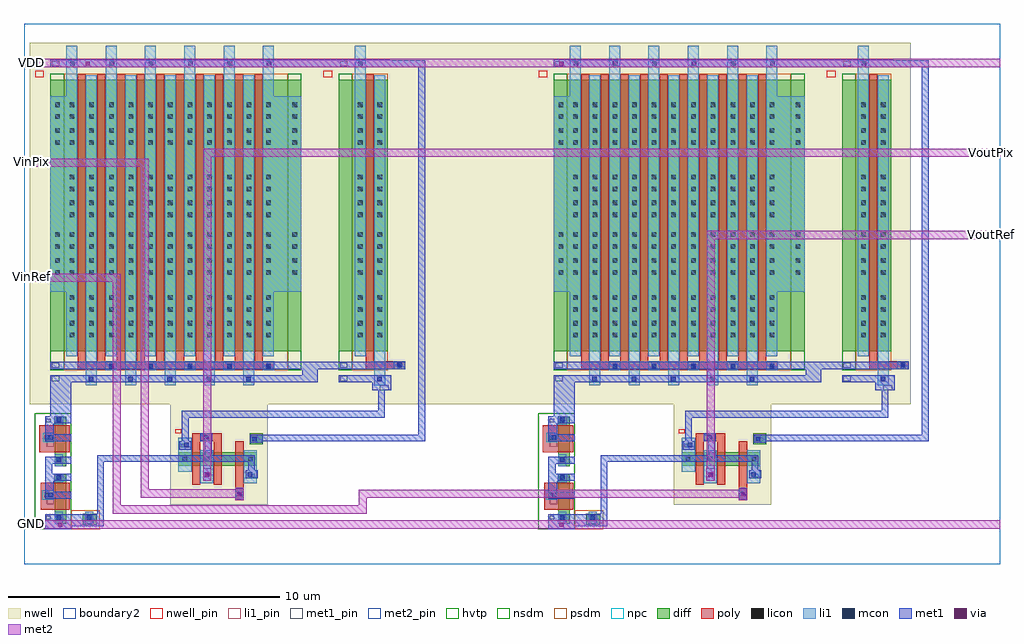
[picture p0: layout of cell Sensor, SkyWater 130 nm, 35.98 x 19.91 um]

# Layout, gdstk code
import gdstk
lib = gdstk.Library(unit=1e-6, precision=1e-09)
def R(c, l, rs):  # rectangles x0, y0, x1, y1
    for r in rs: c.add(gdstk.rectangle(r[:2], r[2:], *l))
def A(c, l, x, y, w, h, nx, ny, dx, dy):  # array of equal rectangles
    R(c, l, [(x+i*dx, y+j*dy, x+i*dx+w, y+j*dy+h) for i in range(nx) for j in range(ny)])
nwell_pin = (64, 16)
nwell = (64, 20)
diff = (65, 20)
poly = (66, 20)
licon = (66, 44)
li1_pin = (67, 16)
li1 = (67, 20)
mcon = (67, 44)
met1_pin = (68, 16)
met1 = (68, 20)
via = (68, 44)
met2_pin = (69, 16)
met2 = (69, 20)
hvtp = (78, 44)
nsdm = (93, 44)
psdm = (94, 20)
npc = (95, 20)
boundary2 = (236, 0)

pixel = lib.new_cell('Pixel')
R(pixel, nwell_pin, [(8.69,5.24,8.91,5.38)])
R(pixel, nwell, [(8.5,2.6,12.085,5.475)])
R(pixel, diff, [(8.8,4.03,11.69,4.53), (11.425,4.83,11.905,5.24)])
R(pixel, poly, [(10.9,2.755,11.2,4.94), (10.91,2.795,11.195,3.22), (9.3,3.335,9.6,4.94), (10.1,3.335,10.4,4.94), (9.3,4.94,10.4,5.24), (9.61,4.95,10.035,5.235)])
R(pixel, licon, [(10.97,2.915,11.14,3.085), (8.945,4.195,9.115,4.365), (9.755,4.195,9.925,4.365), (11.375,4.195,11.545,4.365), (9.745,5.01,9.915,5.18)])
R(pixel, li1_pin, [(10.96,2.915,11.13,3.085), (9.745,5,9.915,5.17)])
R(pixel, li1, [(10.91,2.795,11.195,3.22), (9.61,3.4,10.09,4.6), (11.21,3.4,11.69,4.6), (8.8,3.815,9.29,5.065), (11.45,4.885,11.89,5.185), (9.61,4.95,10.035,5.235)])
R(pixel, mcon, [(10.975,2.915,11.145,3.085), (9.77,3.625,9.94,3.795), (11.355,3.625,11.525,3.795), (9.015,4.715,9.185,4.885), (11.52,4.94,11.69,5.11), (9.745,5.015,9.915,5.185)])
R(pixel, met1_pin, [(10.98,2.925,11.115,3.055), (9.705,3.62,9.84,3.75), (11.485,3.62,11.62,3.75), (8.88,4.715,9.015,4.845), (11.65,4.935,11.785,5.065), (9.775,5.03,9.91,5.16)])
R(pixel, met1, [(10.9,2.755,11.2,3.215), (9.705,3.49,10.005,3.95), (11.285,3.57,11.725,3.87), (8.835,4.635,9.275,4.935), (11.45,4.885,11.89,5.185), (9.61,4.94,10.05,5.24)])
R(pixel, hvtp, [(8.8,4.03,11.69,4.53)])
R(pixel, nsdm, [(11.425,4.83,11.905,5.24)])
R(pixel, psdm, [(8.8,4.03,11.69,4.53)])
R(pixel, npc, [(10.91,2.795,11.195,3.22), (9.61,4.95,10.035,5.235)])
pixel.add(gdstk.Label('VDD', (8.8,5.305), layer=64, texttype=5))
pixel.add(gdstk.Label('VDD', (11.675,4.985), layer=68, texttype=5))
pixel.add(gdstk.Label('Vmirror', (8.92,4.77), layer=68, texttype=5))
pixel.add(gdstk.Label('VSels', (9.815,5.085), layer=68, texttype=5))
pixel.add(gdstk.Label('Vout', (9.745,3.675), layer=68, texttype=5))
pixel.add(gdstk.Label('Vgnd', (11.525,3.675), layer=68, texttype=5))
pixel.add(gdstk.Label('VFD', (11.02,2.98), layer=68, texttype=5))

driver = lib.new_cell('Driver')
R(driver, nwell_pin, [(2.29,7.09,2.61,7.33)])
R(driver, nwell, [(2.08,-4.96,12.705,8.37)])
R(driver, diff, [(2.85,-3,12.09,7)])
A(driver, poly, 3.85, -3.665, 0.3, 10.865, 10, 1, 0.725, 0)
A(driver, poly, 5.6, -3.665, 0.425, 0.285, 8, 1, 0.725, 0)
R(driver, poly, [(3.85,-3.71,11.1,-3.38), (4.15,-3.665,4.575,-3.38)])
A(driver, licon, 5.01, -3.63, 0.17, 0.17, 5, 1, 1.45, 0)
R(driver, licon, [(3.56,-2.495,3.73,-2.325), (4.28,-2.495,4.45,-2.325), (5.01,-2.495,5.18,-2.325), (5.73,-2.495,5.9,-2.325), (6.46,-2.495,6.63,-2.325), (7.18,-2.495,7.35,-2.325), (7.91,-2.495,8.08,-2.325), (8.63,-2.495,8.8,-2.325), (9.36,-2.495,9.53,-2.325), (10.08,-2.495,10.25,-2.325), (10.81,-2.495,10.98,-2.325), (3.56,-2.055,3.73,-1.885), (4.28,-2.055,4.45,-1.885), (5.01,-2.055,5.18,-1.885), (5.73,-2.055,5.9,-1.885), (6.46,-2.055,6.63,-1.885), (7.18,-2.055,7.35,-1.885), (7.91,-2.055,8.08,-1.885), (8.63,-2.055,8.8,-1.885), (9.36,-2.055,9.53,-1.885), (10.08,-2.055,10.25,-1.885), (10.81,-2.055,10.98,-1.885), (3.56,-1.545,3.73,-1.375), (4.28,-1.545,4.45,-1.375), (5.01,-1.545,5.18,-1.375), (5.73,-1.545,5.9,-1.375), (6.46,-1.545,6.63,-1.375), (7.18,-1.545,7.35,-1.375), (7.91,-1.545,8.08,-1.375), (8.63,-1.545,8.8,-1.375), (9.36,-1.545,9.53,-1.375), (10.08,-1.545,10.25,-1.375), (10.81,-1.545,10.98,-1.375), (3.56,-1.105,3.73,-0.935), (4.28,-1.105,4.45,-0.935), (5.01,-1.105,5.18,-0.935), (5.73,-1.105,5.9,-0.935), (6.46,-1.105,6.63,-0.935), (7.18,-1.105,7.35,-0.935), (7.91,-1.105,8.08,-0.935), (8.63,-1.105,8.8,-0.935), (9.36,-1.105,9.53,-0.935), (10.08,-1.105,10.25,-0.935), (10.81,-1.105,10.98,-0.935), (3.03,-0.18,3.2,-0.01), (3.56,-0.18,3.73,-0.01), (4.28,-0.18,4.45,-0.01), (5.01,-0.18,5.18,-0.01), (5.73,-0.18,5.9,-0.01), (6.46,-0.18,6.63,-0.01), (7.18,-0.18,7.35,-0.01), (7.91,-0.18,8.08,-0.01), (8.63,-0.18,8.8,-0.01), (9.36,-0.18,9.53,-0.01), (10.08,-0.18,10.25,-0.01), (10.81,-0.18,10.98,-0.01), (11.77,-0.18,11.94,-0.01), (3.03,0.26,3.2,0.43), (3.56,0.26,3.73,0.43), (4.28,0.26,4.45,0.43), (5.01,0.26,5.18,0.43), (5.73,0.26,5.9,0.43), (6.46,0.26,6.63,0.43), (7.18,0.26,7.35,0.43), (7.91,0.26,8.08,0.43), (8.63,0.26,8.8,0.43), (9.36,0.26,9.53,0.43), (10.08,0.26,10.25,0.43), (10.81,0.26,10.98,0.43), (11.77,0.26,11.94,0.43), (3.03,0.77,3.2,0.94), (3.56,0.77,3.73,0.94), (4.28,0.77,4.45,0.94), (5.01,0.77,5.18,0.94), (5.73,0.77,5.9,0.94), (6.46,0.77,6.63,0.94), (7.18,0.77,7.35,0.94), (7.91,0.77,8.08,0.94), (8.63,0.77,8.8,0.94), (9.36,0.77,9.53,0.94), (10.08,0.77,10.25,0.94), (10.81,0.77,10.98,0.94), (11.77,0.77,11.94,0.94), (3.03,1.21,3.2,1.38), (3.56,1.21,3.73,1.38), (4.28,1.21,4.45,1.38), (5.01,1.21,5.18,1.38), (5.73,1.21,5.9,1.38), (6.46,1.21,6.63,1.38), (7.18,1.21,7.35,1.38), (7.91,1.21,8.08,1.38), (8.63,1.21,8.8,1.38), (9.36,1.21,9.53,1.38), (10.08,1.21,10.25,1.38), (10.81,1.21,10.98,1.38), (11.77,1.21,11.94,1.38), (3.56,1.945,3.73,2.115), (4.28,1.945,4.45,2.115), (5.01,1.945,5.18,2.115), (5.73,1.945,5.9,2.115), (6.46,1.945,6.63,2.115), (7.18,1.945,7.35,2.115), (7.91,1.945,8.08,2.115), (8.63,1.945,8.8,2.115), (9.36,1.945,9.53,2.115), (10.08,1.945,10.25,2.115), (10.81,1.945,10.98,2.115), (3.56,2.385,3.73,2.555), (4.28,2.385,4.45,2.555), (5.01,2.385,5.18,2.555), (5.73,2.385,5.9,2.555), (6.46,2.385,6.63,2.555), (7.18,2.385,7.35,2.555), (7.91,2.385,8.08,2.555), (8.63,2.385,8.8,2.555), (9.36,2.385,9.53,2.555), (10.08,2.385,10.25,2.555), (10.81,2.385,10.98,2.555), (3.56,2.895,3.73,3.065), (4.28,2.895,4.45,3.065), (5.01,2.895,5.18,3.065), (5.73,2.895,5.9,3.065), (6.46,2.895,6.63,3.065), (7.18,2.895,7.35,3.065), (7.91,2.895,8.08,3.065), (8.63,2.895,8.8,3.065), (9.36,2.895,9.53,3.065), (10.08,2.895,10.25,3.065), (10.81,2.895,10.98,3.065), (3.56,3.335,3.73,3.505), (4.28,3.335,4.45,3.505), (5.01,3.335,5.18,3.505), (5.73,3.335,5.9,3.505), (6.46,3.335,6.63,3.505), (7.18,3.335,7.35,3.505), (7.91,3.335,8.08,3.505), (8.63,3.335,8.8,3.505), (9.36,3.335,9.53,3.505), (10.08,3.335,10.25,3.505), (10.81,3.335,10.98,3.505), (3.03,4.61,3.2,4.78), (3.56,4.61,3.73,4.78), (4.28,4.61,4.45,4.78), (5.01,4.61,5.18,4.78), (5.73,4.61,5.9,4.78), (6.46,4.61,6.63,4.78), (7.18,4.61,7.35,4.78), (7.91,4.61,8.08,4.78), (8.63,4.61,8.8,4.78), (9.36,4.61,9.53,4.78), (10.08,4.61,10.25,4.78), (10.81,4.61,10.98,4.78), (11.77,4.61,11.94,4.78), (3.03,5.05,3.2,5.22), (3.56,5.05,3.73,5.22), (4.28,5.05,4.45,5.22), (5.01,5.05,5.18,5.22), (5.73,5.05,5.9,5.22), (6.46,5.05,6.63,5.22), (7.18,5.05,7.35,5.22), (7.91,5.05,8.08,5.22), (8.63,5.05,8.8,5.22), (9.36,5.05,9.53,5.22), (10.08,5.05,10.25,5.22), (10.81,5.05,10.98,5.22), (11.77,5.05,11.94,5.22), (3.03,5.56,3.2,5.73), (3.56,5.56,3.73,5.73), (4.28,5.56,4.45,5.73), (5.01,5.56,5.18,5.73), (5.73,5.56,5.9,5.73), (6.46,5.56,6.63,5.73), (7.18,5.56,7.35,5.73), (7.91,5.56,8.08,5.73), (8.63,5.56,8.8,5.73), (9.36,5.56,9.53,5.73), (10.08,5.56,10.25,5.73), (10.81,5.56,10.98,5.73), (11.77,5.56,11.94,5.73), (3.03,6,3.2,6.17), (3.56,6,3.73,6.17), (4.28,6,4.45,6.17), (5.01,6,5.18,6.17), (5.73,6,5.9,6.17), (6.46,6,6.63,6.17), (7.18,6,7.35,6.17), (7.91,6,8.08,6.17), (8.63,6,8.8,6.17), (9.36,6,9.53,6.17), (10.08,6,10.25,6.17), (10.81,6,10.98,6.17), (11.77,6,11.94,6.17)])
A(driver, li1, 4.16, -4.255, 0.405, 11.435, 5, 1, 1.45, 0)
A(driver, li1, 4.875, -3.71, 0.425, 0.33, 5, 1, 1.45, 0)
A(driver, li1, 3.435, -3.18, 0.405, 11.435, 6, 1, 1.45, 0)
R(driver, li1, [(2.85,-0.805,3.435,6.405), (11.09,-0.805,12.09,6.405)])
A(driver, mcon, 4.265, -4.105, 0.17, 0.17, 5, 1, 1.45, 0)
A(driver, mcon, 5.01, -3.63, 0.17, 0.17, 5, 1, 1.45, 0)
A(driver, mcon, 3.575, 7.515, 0.17, 0.17, 6, 1, 1.45, 0)
R(driver, met1_pin, [(2.9,-4.1,3.17,-3.915), (2.9,-3.61,3.17,-3.425), (2.9,7.51,3.17,7.695)])
R(driver, met1, [(2.85,-4.15,12.13,-3.88), (2.85,-3.665,12.09,-3.395), (2.85,7.47,12.07,7.74)])
R(driver, hvtp, [(2.85,-3,12.09,7)])
R(driver, nsdm, [(2.85,-3.695,3.35,7.23), (11.59,-3.695,12.09,7.23), (11.59,-3.695,12.09,7.23)])
R(driver, psdm, [(3.35,-3.695,11.59,7.23)])
A(driver, npc, 4.875, -3.665, 0.425, 0.285, 5, 1, 1.45, 0)
driver.add(gdstk.Label('VDD', (2.385,7.175), layer=64, texttype=5))
driver.add(gdstk.Label('VDD', (2.995,7.6), layer=68, texttype=5))
driver.add(gdstk.Label('G_Driver', (2.995,-3.52), layer=68, texttype=5))
driver.add(gdstk.Label('D_Driver', (2.995,-4.01), layer=68, texttype=5))

mirror = lib.new_cell('Mirror')
R(mirror, nwell_pin, [(2.29,7.09,2.61,7.33)])
R(mirror, nwell, [(2.08,-4.96,5.385,8.37)])
R(mirror, diff, [(2.85,-3,4.665,7)])
R(mirror, poly, [(3.85,-3.665,4.15,7.2), (4.15,-3.665,4.875,-3.38), (4.875,-3.665,5.3,-3.38)])
R(mirror, licon, [(5.01,-3.605,5.18,-3.435), (3.56,-2.495,3.73,-2.325), (4.28,-2.495,4.45,-2.325), (3.56,-2.055,3.73,-1.885), (4.28,-2.055,4.45,-1.885), (3.56,-1.545,3.73,-1.375), (4.28,-1.545,4.45,-1.375), (3.56,-1.105,3.73,-0.935), (4.28,-1.105,4.45,-0.935), (3.56,-0.18,3.73,-0.01), (4.28,-0.18,4.45,-0.01), (3.56,0.26,3.73,0.43), (4.28,0.26,4.45,0.43), (3.56,0.77,3.73,0.94), (4.28,0.77,4.45,0.94), (3.56,1.21,3.73,1.38), (4.28,1.21,4.45,1.38), (3.56,1.945,3.73,2.115), (4.28,1.945,4.45,2.115), (3.56,2.385,3.73,2.555), (4.28,2.385,4.45,2.555), (3.56,2.895,3.73,3.065), (4.28,2.895,4.45,3.065), (3.56,3.335,3.73,3.505), (4.28,3.335,4.45,3.505), (3.56,4.61,3.73,4.78), (4.28,4.61,4.45,4.78), (3.56,5.05,3.73,5.22), (4.28,5.05,4.45,5.22), (3.56,5.56,3.73,5.73), (4.28,5.56,4.45,5.73), (3.56,6,3.73,6.17), (4.28,6,4.45,6.17)])
R(mirror, li1_pin, [(5.01,-3.615,5.18,-3.445)])
R(mirror, li1, [(4.16,-4.255,4.565,7.18), (4.875,-3.665,5.3,-3.38), (3.435,-3.18,3.84,8.255)])
R(mirror, mcon, [(4.265,-4.105,4.435,-3.935), (5.01,-3.6,5.18,-3.43), (3.575,7.515,3.745,7.685)])
R(mirror, met1_pin, [(2.9,-4.1,3.17,-3.915), (2.9,-3.61,3.17,-3.425), (2.9,7.51,3.17,7.695)])
R(mirror, met1, [(2.85,-4.15,4.795,-3.88), (2.85,-3.665,5.3,-3.395), (2.85,7.47,4.73,7.74)])
R(mirror, hvtp, [(2.85,-3,4.665,7)])
R(mirror, nsdm, [(2.85,-3.695,3.35,7.23)])
R(mirror, psdm, [(3.35,-3.695,4.665,7.23)])
R(mirror, npc, [(4.875,-3.665,5.3,-3.38)])
mirror.add(gdstk.Label('VDD', (2.385,7.175), layer=64, texttype=5))
mirror.add(gdstk.Label('VDD', (2.995,7.6), layer=68, texttype=5))
mirror.add(gdstk.Label('G_Mirror', (2.995,-3.52), layer=68, texttype=5))
mirror.add(gdstk.Label('D_Mirror', (2.995,-4.01), layer=68, texttype=5))

load = lib.new_cell('Load')
R(load, diff, [(3.155,-0.41,3.68,-0.01), (2.12,-0.38,2.54,1.44), (2.12,1.74,2.54,3.56)])
R(load, poly, [(1.6,0.13,2.67,1.13), (1.56,2.25,2.67,3.25)])
R(load, licon, [(2.185,-0.24,2.355,-0.07), (3.315,-0.24,3.485,-0.07), (1.76,0.595,1.93,0.765), (2.185,1.22,2.355,1.39), (2.185,1.88,2.355,2.05), (1.76,2.715,1.93,2.885), (2.185,3.34,2.355,3.51)])
R(load, li1, [(2.12,-0.38,2.42,0.06), (3.25,-0.38,3.55,0.06), (1.67,0.505,2.09,0.85), (2.105,1.14,2.435,1.47), (2.12,1.74,2.42,2.18), (1.68,2.63,2.09,2.97), (2.105,3.26,2.435,3.59)])
R(load, mcon, [(2.2,-0.235,2.37,-0.065), (3.305,-0.235,3.475,-0.065), (1.89,0.595,2.06,0.765), (2.2,1.25,2.37,1.42), (2.2,1.885,2.37,2.055), (1.89,2.715,2.06,2.885), (2.2,3.37,2.37,3.54)])
R(load, met1_pin, [(1.81,-0.21,1.985,-0.085), (1.81,3.355,1.985,3.48)])
R(load, met1, [(1.765,-0.285,3.775,-0.035), (1.765,0.545,2.735,0.795), (1.765,0.795,2.09,1.21), (1.765,1.21,2.735,1.46), (1.765,1.46,2.04,1.835), (1.765,1.835,2.735,2.085), (1.765,2.665,2.735,2.915), (1.765,2.915,2.09,3.33), (1.765,3.33,2.735,3.58)])
R(load, nsdm, [(1.395,-0.58,2.735,1.51), (1.385,1.51,2.735,3.69)])
R(load, psdm, [(2.735,-0.58,3.775,0.11)])
R(load, npc, [(1.82,0.33,2.09,0.85), (1.82,2.45,2.09,2.97)])
load.add(gdstk.Label('D_Load', (1.87,3.415), layer=68, texttype=5))
load.add(gdstk.Label('GND', (1.87,-0.15), layer=68, texttype=5))

cur_mir = lib.new_cell('Cur_Mir')
R(cur_mir, met1_pin, [(-0.72,-4.63,-0.55,-4.505), (11.58,0.115,11.9,0.305), (-0.515,12.07,-0.245,12.255)])
R(cur_mir, met1, [(-0.765,-5,0.205,-4.455), (-0.565,-0.84,0.205,0.41), (11.29,0.115,12.005,0.68), (8.715,0.41,9.29,0.895), (8.675,0.895,10.06,1.165), (-0.56,12.03,-0.125,12.3), (8.655,12.03,10.06,12.3)])
cur_mir.add(gdstk.Reference(driver, (-3.415,4.56)))
cur_mir.add(gdstk.Reference(mirror, (7.21,4.56)))
cur_mir.add(gdstk.Reference(load, (-2.53,-4.42)))
cur_mir.add(gdstk.Label('GND', (-0.63,-4.6), layer=68, texttype=5))
cur_mir.add(gdstk.Label('VDD', (-0.405,12.14), layer=68, texttype=5))
cur_mir.add(gdstk.Label('Mirror_out', (11.7,0.24), layer=68, texttype=5))

sensor = lib.new_cell('Sensor')
R(sensor, nwell, [(-0.62,8.135,2.965,8.96), (17.94,8.135,21.525,8.96), (8.12,8.96,12.75,22.29)])
R(sensor, met1, [(-3.9,21.38,-3.44,21.68), (13.57,21.38,14.03,21.68)])
R(sensor, via, [(-4.75,4.44,-4.6,4.59), (13.725,4.44,13.875,4.59), (1.87,5.57,2.02,5.72), (20.43,5.57,20.58,5.72), (0.675,6.305,0.825,6.455), (19.235,6.305,19.385,6.455), (-3.745,21.44,-3.595,21.59), (13.725,21.44,13.875,21.59)])
R(sensor, met2_pin, [(-5.96,4.38,-5.475,4.68), (-5.96,13.475,-5.475,13.775), (29.405,15.055,29.89,15.355), (-5.96,17.715,-5.475,18.015), (29.405,18.08,29.89,18.38), (-5.96,21.395,-5.475,21.695)])
R(sensor, met2, [(-4.905,4.38,-4.445,4.68), (13.57,4.38,14.03,4.68), (1.78,5.415,2.08,5.875), (20.34,5.415,20.64,5.875), (0.585,6.15,0.885,6.61), (19.145,6.15,19.445,6.61), (-3.9,21.38,-3.44,21.68), (13.57,21.38,14.03,21.68)])
R(sensor, boundary2, [(-6.015,3.07,29.965,22.985)])
sensor.add(gdstk.FlexPath([(-0.62,6.965),(0.78,6.965),(0.78,7.6),(0.78,7.6)], 0.25, ends="flush", simple_path=True, layer=68, datatype=20))  # met1
sensor.add(gdstk.FlexPath([(0.905,6.965),(2.375,6.965),(2.375,6.53)], 0.25, ends="flush", simple_path=True, layer=68, datatype=20))  # met1
sensor.add(gdstk.FlexPath([(7.165,9.475),(7.165,8.595),(-0.075,8.595),(-0.075,7.595)], 0.25, ends="flush", simple_path=True, layer=68, datatype=20))  # met1
sensor.add(gdstk.FlexPath([(2.77,7.72),(8.645,7.72),(8.645,21.515),(7.465,21.515)], 0.25, ends="flush", simple_path=True, layer=68, datatype=20))  # met1
sensor.add(gdstk.FlexPath([(-4.27,4.59),(-3.195,4.59),(-3.195,6.965),(-0.62,6.965)], 0.25, ends="flush", simple_path=True, layer=68, datatype=20))  # met1
sensor.add(gdstk.FlexPath([(17.94,6.965),(19.34,6.965),(19.34,7.6),(19.34,7.6)], 0.25, ends="flush", simple_path=True, layer=68, datatype=20))  # met1
sensor.add(gdstk.FlexPath([(19.465,6.965),(20.935,6.965),(20.935,6.53)], 0.25, ends="flush", simple_path=True, layer=68, datatype=20))  # met1
sensor.add(gdstk.FlexPath([(25.725,9.475),(25.725,8.595),(18.485,8.595),(18.485,7.595)], 0.25, ends="flush", simple_path=True, layer=68, datatype=20))  # met1
sensor.add(gdstk.FlexPath([(21.33,7.72),(27.205,7.72),(27.205,21.515),(26.025,21.515)], 0.25, ends="flush", simple_path=True, layer=68, datatype=20))  # met1
sensor.add(gdstk.FlexPath([(14.29,4.59),(15.365,4.59),(15.365,6.965),(17.94,6.965)], 0.25, ends="flush", simple_path=True, layer=68, datatype=20))  # met1
sensor.add(gdstk.FlexPath([(0.74,6.61),(0.74,18.23),(29.965,18.23)], 0.3, ends="flush", simple_path=True, layer=69, datatype=20))  # met2
sensor.add(gdstk.FlexPath([(19.305,6.61),(19.305,15.205),(29.965,15.205)], 0.3, ends="flush", simple_path=True, layer=69, datatype=20))  # met2
sensor.add(gdstk.FlexPath([(1.79,5.675),(-1.565,5.675),(-1.565,17.865),(-6.015,17.865)], 0.3, ends="flush", simple_path=True, layer=69, datatype=20))  # met2
sensor.add(gdstk.FlexPath([(20.34,5.67),(6.47,5.67),(6.47,5.085),(-2.6,5.085),(-2.6,13.625),(-6.015,13.625)], 0.3, ends="flush", simple_path=True, layer=69, datatype=20))  # met2
sensor.add(gdstk.FlexPath([(-6.015,4.53),(29.965,4.53)], 0.3, ends="flush", simple_path=True, layer=69, datatype=20))  # met2
sensor.add(gdstk.FlexPath([(-6.015,21.545),(29.965,21.545)], 0.3, ends="flush", simple_path=True, layer=69, datatype=20))  # met2
sensor.add(gdstk.Reference(pixel, (-9.12,2.66)))
sensor.add(gdstk.Reference(cur_mir, (-4.475,9.36)))
sensor.add(gdstk.Reference(pixel, (9.44,2.66)))
sensor.add(gdstk.Reference(cur_mir, (14.085,9.36)))
sensor.add(gdstk.Label('VDD', (-5.73,21.575), layer=69, texttype=5))
sensor.add(gdstk.Label('GND', (-5.73,4.56), layer=69, texttype=5))
sensor.add(gdstk.Label('VinRef', (-5.73,13.655), layer=69, texttype=5))
sensor.add(gdstk.Label('VinPix', (-5.73,17.895), layer=69, texttype=5))
sensor.add(gdstk.Label('VoutPix', (29.635,18.26), layer=69, texttype=5))
sensor.add(gdstk.Label('VoutRef', (29.635,15.235), layer=69, texttype=5))

lib.write_gds('Sensor.gds')
